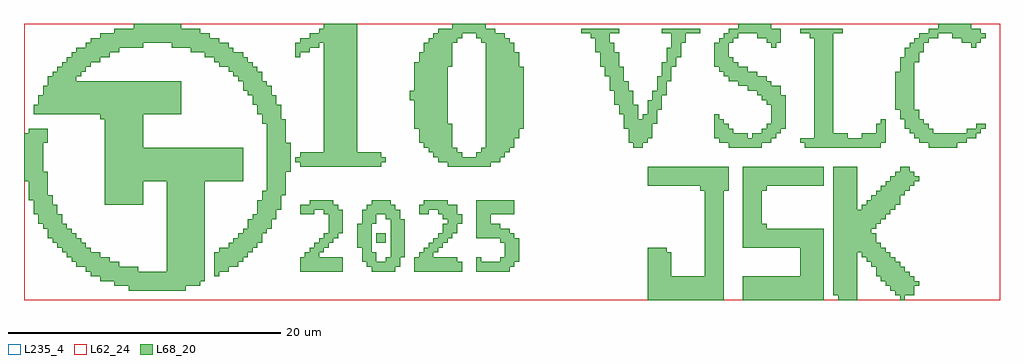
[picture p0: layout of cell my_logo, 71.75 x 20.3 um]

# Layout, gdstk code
import gdstk
lib = gdstk.Library(unit=1e-6, precision=1e-09)
def R(c, l, rs):  # rectangles x0, y0, x1, y1
    for r in rs: c.add(gdstk.rectangle(r[:2], r[2:], *l))
def A(c, l, x, y, w, h, nx, ny, dx, dy):  # array of equal rectangles
    R(c, l, [(x+i*dx, y+j*dy, x+i*dx+w, y+j*dy+h) for i in range(nx) for j in range(ny)])
L62_24 = (62, 24)
L68_20 = (68, 20)
L235_4 = (235, 4)

my_logo = lib.new_cell('my_logo')
R(my_logo, L62_24, [(0,0,71.75,20.3)])
A(my_logo, L68_20, 45.85, 0, 0.35, 0.35, 16, 5, 0.35, 0.35)
A(my_logo, L68_20, 52.85, 0, 0.35, 0.35, 17, 5, 0.35, 0.35)
A(my_logo, L68_20, 59.85, 0, 0.35, 0.35, 4, 1, 0.35, 0)
A(my_logo, L68_20, 59.5, 0.35, 0.35, 0.35, 5, 9, 0.35, 0.35)
A(my_logo, L68_20, 64.05, 0.35, 0.35, 0.35, 4, 2, 0.35, 8.75)
A(my_logo, L68_20, 7.7, 0.7, 0.35, 0.35, 12, 1, 0.35, 0)
A(my_logo, L68_20, 63.7, 0.7, 0.35, 0.35, 5, 1, 0.35, 0)
A(my_logo, L68_20, 6.65, 1.05, 0.35, 0.35, 18, 2, 0.35, 18.55)
A(my_logo, L68_20, 63.35, 1.05, 0.35, 0.35, 7, 1, 0.35, 0)
A(my_logo, L68_20, 5.6, 1.4, 0.35, 0.35, 22, 1, 0.35, 0)
A(my_logo, L68_20, 63, 1.4, 0.35, 0.35, 7, 1, 0.35, 0)
A(my_logo, L68_20, 4.9, 1.75, 0.35, 0.35, 24, 1, 0.35, 0)
A(my_logo, L68_20, 45.85, 1.75, 0.35, 0.35, 5, 5, 0.35, 0.35)
A(my_logo, L68_20, 50.05, 1.75, 0.35, 0.35, 4, 18, 0.35, 0.35)
A(my_logo, L68_20, 57.05, 1.75, 0.35, 0.35, 5, 6, 0.35, 0.35)
A(my_logo, L68_20, 62.65, 1.75, 0.35, 0.35, 7, 1, 0.35, 0)
A(my_logo, L68_20, 4.55, 2.1, 0.35, 0.35, 11, 1, 0.35, 0)
A(my_logo, L68_20, 10.5, 2.1, 0.35, 0.35, 8, 19, 0.35, 0.35)
A(my_logo, L68_20, 14, 2.1, 0.35, 0.35, 3, 1, 0.35, 0)
A(my_logo, L68_20, 20.3, 2.1, 0.35, 0.35, 9, 3, 0.35, 0.35)
A(my_logo, L68_20, 25.55, 2.1, 0.35, 0.35, 5, 1, 0.35, 0)
A(my_logo, L68_20, 28.7, 2.1, 0.35, 0.35, 10, 2, 0.35, 0.35)
A(my_logo, L68_20, 33.25, 2.1, 0.35, 0.35, 7, 2, 0.35, 2.8)
A(my_logo, L68_20, 62.65, 2.1, 0.35, 0.35, 6, 2, 0.35, 5.6)
A(my_logo, L68_20, 3.85, 2.45, 0.35, 0.35, 9, 2, 0.35, 15.75)
A(my_logo, L68_20, 14, 2.45, 0.35, 0.35, 5, 1, 0.35, 0)
A(my_logo, L68_20, 25.2, 2.45, 0.35, 0.35, 7, 1, 0.35, 0)
A(my_logo, L68_20, 33.25, 2.45, 0.35, 0.35, 8, 2, 0.35, 2.1)
A(my_logo, L68_20, 62.3, 2.45, 0.35, 0.35, 6, 2, 0.35, 4.9)
A(my_logo, L68_20, 3.5, 2.8, 0.35, 0.35, 8, 2, 0.35, 15.05)
A(my_logo, L68_20, 14, 2.8, 0.35, 0.35, 6, 1, 0.35, 0)
A(my_logo, L68_20, 24.85, 2.8, 0.35, 0.35, 3, 2, 0.35, 0.35)
A(my_logo, L68_20, 26.6, 2.8, 0.35, 0.35, 3, 2, 0.35, 3.15)
A(my_logo, L68_20, 28.7, 2.8, 0.35, 0.35, 9, 1, 0.35, 0)
A(my_logo, L68_20, 35, 2.8, 0.35, 0.35, 4, 2, 0.35, 1.4)
A(my_logo, L68_20, 61.95, 2.8, 0.35, 0.35, 6, 1, 0.35, 0)
A(my_logo, L68_20, 3.15, 3.15, 0.35, 0.35, 7, 2, 0.35, 14.35)
A(my_logo, L68_20, 14, 3.15, 0.35, 0.35, 7, 2, 0.35, 14.35)
A(my_logo, L68_20, 20.65, 3.15, 0.35, 0.35, 3, 1, 0.35, 0)
A(my_logo, L68_20, 26.95, 3.15, 0.35, 0.35, 3, 8, 0.35, 0.35)
A(my_logo, L68_20, 29.05, 3.15, 0.35, 0.35, 3, 1, 0.35, 0)
A(my_logo, L68_20, 35.35, 3.15, 0.35, 0.35, 3, 3, 0.35, 0.35)
A(my_logo, L68_20, 61.6, 3.15, 0.35, 0.35, 6, 1, 0.35, 0)
A(my_logo, L68_20, 2.8, 3.5, 0.35, 0.35, 6, 2, 0.35, 13.65)
A(my_logo, L68_20, 14.35, 3.5, 0.35, 0.35, 7, 2, 0.35, 13.65)
A(my_logo, L68_20, 21, 3.5, 0.35, 0.35, 3, 1, 0.35, 0)
A(my_logo, L68_20, 29.4, 3.5, 0.35, 0.35, 3, 1, 0.35, 0)
A(my_logo, L68_20, 45.85, 3.5, 0.35, 0.35, 4, 1, 0.35, 0)
A(my_logo, L68_20, 59.5, 3.5, 0.35, 0.35, 11, 2, 0.35, 2.45)
A(my_logo, L68_20, 2.45, 3.85, 0.35, 0.35, 6, 2, 0.35, 12.95)
A(my_logo, L68_20, 15.05, 3.85, 0.35, 0.35, 6, 2, 0.35, 12.95)
A(my_logo, L68_20, 21.35, 3.85, 0.35, 0.35, 3, 1, 0.35, 0)
A(my_logo, L68_20, 24.5, 3.85, 0.35, 0.35, 3, 5, 0.35, 0.35)
A(my_logo, L68_20, 29.75, 3.85, 0.35, 0.35, 3, 1, 0.35, 0)
A(my_logo, L68_20, 52.85, 3.85, 0.35, 0.35, 17, 4, 0.35, 0.35)
A(my_logo, L68_20, 59.5, 3.85, 0.35, 0.35, 10, 2, 0.35, 1.75)
A(my_logo, L68_20, 2.1, 4.2, 0.35, 0.35, 6, 2, 0.35, 12.25)
A(my_logo, L68_20, 15.4, 4.2, 0.35, 0.35, 6, 2, 0.35, 12.25)
A(my_logo, L68_20, 21.7, 4.2, 0.35, 0.35, 3, 1, 0.35, 0)
A(my_logo, L68_20, 30.1, 4.2, 0.35, 0.35, 3, 1, 0.35, 0)
A(my_logo, L68_20, 59.5, 4.2, 0.35, 0.35, 9, 2, 0.35, 0.35)
A(my_logo, L68_20, 1.75, 4.55, 0.35, 0.35, 6, 2, 0.35, 11.55)
A(my_logo, L68_20, 15.75, 4.55, 0.35, 0.35, 5, 2, 0.35, 11.55)
A(my_logo, L68_20, 22.05, 4.55, 0.35, 0.35, 3, 1, 0.35, 0)
A(my_logo, L68_20, 30.45, 4.55, 0.35, 0.35, 3, 1, 0.35, 0)
A(my_logo, L68_20, 1.75, 4.9, 0.35, 0.35, 5, 1, 0.35, 0)
A(my_logo, L68_20, 16.1, 4.9, 0.35, 0.35, 5, 2, 0.35, 10.85)
A(my_logo, L68_20, 22.4, 4.9, 0.35, 0.35, 3, 4, 0.35, 0.35)
A(my_logo, L68_20, 30.8, 4.9, 0.35, 0.35, 3, 2, 0.35, 0.35)
A(my_logo, L68_20, 59.5, 4.9, 0.35, 0.35, 8, 1, 0.35, 0)
A(my_logo, L68_20, 1.4, 5.25, 0.35, 0.35, 5, 1, 0.35, 0)
A(my_logo, L68_20, 16.45, 5.25, 0.35, 0.35, 5, 2, 0.35, 0.35)
A(my_logo, L68_20, 33.25, 5.25, 0.35, 0.35, 5, 1, 0.35, 0)
A(my_logo, L68_20, 52.85, 5.25, 0.35, 0.35, 5, 2, 0.35, 2.8)
A(my_logo, L68_20, 59.5, 5.25, 0.35, 0.35, 9, 1, 0.35, 0)
A(my_logo, L68_20, 1.05, 5.6, 0.35, 0.35, 5, 2, 0.35, 0.35)
A(my_logo, L68_20, 24.85, 5.6, 0.35, 0.35, 3, 2, 0.35, 0.35)
A(my_logo, L68_20, 31.15, 5.6, 0.35, 0.35, 3, 1, 0.35, 0)
A(my_logo, L68_20, 33.25, 5.6, 0.35, 0.35, 3, 2, 0.35, 0.35)
A(my_logo, L68_20, 52.85, 5.6, 0.35, 0.35, 4, 7, 0.35, 0.35)
A(my_logo, L68_20, 16.8, 5.95, 0.35, 0.35, 5, 2, 0.35, 8.4)
A(my_logo, L68_20, 30.8, 5.95, 0.35, 0.35, 4, 1, 0.35, 0)
A(my_logo, L68_20, 0.7, 6.3, 0.35, 0.35, 5, 2, 0.35, 0.35)
A(my_logo, L68_20, 17.15, 6.3, 0.35, 0.35, 4, 1, 0.35, 0)
A(my_logo, L68_20, 20.3, 6.3, 0.35, 0.35, 3, 1, 0.35, 0)
A(my_logo, L68_20, 22.05, 6.3, 0.35, 0.35, 4, 1, 0.35, 0)
A(my_logo, L68_20, 24.85, 6.3, 0.35, 0.35, 8, 1, 0.35, 0)
A(my_logo, L68_20, 30.45, 6.3, 0.35, 0.35, 4, 1, 0.35, 0)
A(my_logo, L68_20, 33.25, 6.3, 0.35, 0.35, 8, 3, 0.35, 0.35)
A(my_logo, L68_20, 59.5, 6.3, 0.35, 0.35, 12, 1, 0.35, 0)
A(my_logo, L68_20, 17.15, 6.65, 0.35, 0.35, 5, 2, 0.35, 0.35)
A(my_logo, L68_20, 20.3, 6.65, 0.35, 0.35, 8, 1, 0.35, 0)
A(my_logo, L68_20, 25.2, 6.65, 0.35, 0.35, 6, 1, 0.35, 0)
A(my_logo, L68_20, 29.05, 6.65, 0.35, 0.35, 8, 1, 0.35, 0)
A(my_logo, L68_20, 59.5, 6.65, 0.35, 0.35, 5, 9, 0.35, 0.35)
A(my_logo, L68_20, 61.6, 6.65, 0.35, 0.35, 7, 1, 0.35, 0)
A(my_logo, L68_20, 0.7, 7, 0.35, 0.35, 4, 1, 0.35, 0)
A(my_logo, L68_20, 5.95, 7, 0.35, 0.35, 8, 5, 0.35, 0.35)
A(my_logo, L68_20, 21, 7, 0.35, 0.35, 5, 1, 0.35, 0)
A(my_logo, L68_20, 25.55, 7, 0.35, 0.35, 4, 1, 0.35, 0)
A(my_logo, L68_20, 29.4, 7, 0.35, 0.35, 5, 1, 0.35, 0)
A(my_logo, L68_20, 61.95, 7, 0.35, 0.35, 7, 1, 0.35, 0)
A(my_logo, L68_20, 0.35, 7.35, 0.35, 0.35, 5, 1, 0.35, 0)
A(my_logo, L68_20, 17.5, 7.35, 0.35, 0.35, 4, 2, 0.35, 5.95)
A(my_logo, L68_20, 0.35, 7.7, 0.35, 0.35, 4, 3, 0.35, 0.35)
A(my_logo, L68_20, 17.5, 7.7, 0.35, 0.35, 5, 2, 0.35, 5.25)
A(my_logo, L68_20, 17.85, 8.05, 0.35, 0.35, 4, 4, 0.35, 0.35)
A(my_logo, L68_20, 49.7, 8.05, 0.35, 0.35, 6, 1, 0.35, 0)
A(my_logo, L68_20, 63, 8.05, 0.35, 0.35, 6, 1, 0.35, 0)
A(my_logo, L68_20, 45.85, 8.4, 0.35, 0.35, 17, 4, 0.35, 0.35)
A(my_logo, L68_20, 52.85, 8.4, 0.35, 0.35, 17, 4, 0.35, 0.35)
A(my_logo, L68_20, 63.35, 8.4, 0.35, 0.35, 6, 1, 0.35, 0)
A(my_logo, L68_20, 0, 8.75, 0.35, 0.35, 5, 2, 0.35, 0.35)
A(my_logo, L68_20, 5.95, 8.75, 0.35, 0.35, 29, 7, 0.35, 0.35)
A(my_logo, L68_20, 63.7, 8.75, 0.35, 0.35, 6, 1, 0.35, 0)
A(my_logo, L68_20, 0, 9.45, 0.35, 0.35, 4, 6, 0.35, 0.35)
A(my_logo, L68_20, 17.85, 9.45, 0.35, 0.35, 5, 6, 0.35, 0.35)
A(my_logo, L68_20, 20.3, 9.8, 0.35, 0.35, 17, 2, 0.35, 0.7)
A(my_logo, L68_20, 31.15, 9.8, 0.35, 0.35, 9, 1, 0.35, 0)
A(my_logo, L68_20, 19.95, 10.15, 0.35, 0.35, 19, 1, 0.35, 0)
A(my_logo, L68_20, 30.45, 10.15, 0.35, 0.35, 13, 1, 0.35, 0)
A(my_logo, L68_20, 30.1, 10.5, 0.35, 0.35, 6, 2, 0.35, 8.75)
A(my_logo, L68_20, 33.25, 10.5, 0.35, 0.35, 6, 2, 0.35, 8.75)
A(my_logo, L68_20, 22.05, 10.85, 0.35, 0.35, 7, 23, 0.35, 0.35)
A(my_logo, L68_20, 29.75, 10.85, 0.35, 0.35, 6, 2, 0.35, 8.05)
A(my_logo, L68_20, 33.6, 10.85, 0.35, 0.35, 6, 2, 0.35, 8.05)
A(my_logo, L68_20, 5.95, 11.2, 0.35, 0.35, 8, 6, 0.35, 0.35)
A(my_logo, L68_20, 29.4, 11.2, 0.35, 0.35, 6, 2, 0.35, 7)
A(my_logo, L68_20, 33.95, 11.2, 0.35, 0.35, 6, 2, 0.35, 0.35)
A(my_logo, L68_20, 51.8, 11.2, 0.35, 0.35, 7, 1, 0.35, 0)
A(my_logo, L68_20, 57.4, 11.2, 0.35, 0.35, 16, 1, 0.35, 0)
A(my_logo, L68_20, 66.5, 11.2, 0.35, 0.35, 6, 1, 0.35, 0)
A(my_logo, L68_20, 0, 11.55, 0.35, 0.35, 5, 2, 0.35, 0.35)
A(my_logo, L68_20, 17.85, 11.55, 0.35, 0.35, 4, 4, 0.35, 0.35)
A(my_logo, L68_20, 29.05, 11.55, 0.35, 0.35, 7, 3, 0.35, 0.35)
A(my_logo, L68_20, 44.45, 11.55, 0.35, 0.35, 4, 1, 0.35, 0)
A(my_logo, L68_20, 51.1, 11.55, 0.35, 0.35, 11, 1, 0.35, 0)
A(my_logo, L68_20, 57.05, 11.55, 0.35, 0.35, 18, 1, 0.35, 0)
A(my_logo, L68_20, 65.8, 11.55, 0.35, 0.35, 10, 1, 0.35, 0)
A(my_logo, L68_20, 33.95, 11.9, 0.35, 0.35, 7, 2, 0.35, 0.35)
A(my_logo, L68_20, 44.45, 11.9, 0.35, 0.35, 5, 2, 0.35, 0.35)
A(my_logo, L68_20, 50.75, 11.9, 0.35, 0.35, 7, 1, 0.35, 0)
A(my_logo, L68_20, 53.55, 11.9, 0.35, 0.35, 5, 1, 0.35, 0)
A(my_logo, L68_20, 58.1, 11.9, 0.35, 0.35, 7, 1, 0.35, 0)
A(my_logo, L68_20, 61.6, 11.9, 0.35, 0.35, 5, 1, 0.35, 0)
A(my_logo, L68_20, 65.45, 11.9, 0.35, 0.35, 13, 1, 0.35, 0)
A(my_logo, L68_20, 0.35, 12.25, 0.35, 0.35, 4, 1, 0.35, 0)
A(my_logo, L68_20, 50.75, 12.25, 0.35, 0.35, 4, 2, 0.35, 5.25)
A(my_logo, L68_20, 54.25, 12.25, 0.35, 0.35, 4, 1, 0.35, 0)
A(my_logo, L68_20, 58.1, 12.25, 0.35, 0.35, 4, 20, 0.35, 0.35)
A(my_logo, L68_20, 63, 12.25, 0.35, 0.35, 1, 3, 0, 0.35)
A(my_logo, L68_20, 65.1, 12.25, 0.35, 0.35, 5, 1, 0.35, 0)
A(my_logo, L68_20, 69.3, 12.25, 0.35, 0.35, 3, 1, 0.35, 0)
A(my_logo, L68_20, 28.7, 12.6, 0.35, 0.35, 8, 2, 0.35, 4.55)
A(my_logo, L68_20, 33.95, 12.6, 0.35, 0.35, 8, 13, 0.35, 0.35)
A(my_logo, L68_20, 44.1, 12.6, 0.35, 0.35, 6, 1, 0.35, 0)
A(my_logo, L68_20, 50.75, 12.6, 0.35, 0.35, 3, 2, 0.35, 5.25)
A(my_logo, L68_20, 54.6, 12.6, 0.35, 0.35, 4, 2, 0.35, 1.75)
A(my_logo, L68_20, 64.75, 12.6, 0.35, 0.35, 5, 1, 0.35, 0)
A(my_logo, L68_20, 28.7, 12.95, 0.35, 0.35, 7, 5, 0.35, 0.35)
A(my_logo, L68_20, 44.1, 12.95, 0.35, 0.35, 7, 1, 0.35, 0)
A(my_logo, L68_20, 54.95, 12.95, 0.35, 0.35, 3, 4, 0.35, 0.35)
A(my_logo, L68_20, 64.75, 12.95, 0.35, 0.35, 4, 2, 0.35, 5.25)
A(my_logo, L68_20, 5.6, 13.3, 0.35, 0.35, 9, 1, 0.35, 0)
A(my_logo, L68_20, 44.1, 13.3, 0.35, 0.35, 3, 1, 0.35, 0)
A(my_logo, L68_20, 45.5, 13.3, 0.35, 0.35, 3, 1, 0.35, 0)
A(my_logo, L68_20, 64.4, 13.3, 0.35, 0.35, 4, 2, 0.35, 0.35)
A(my_logo, L68_20, 0.7, 13.65, 0.35, 0.35, 31, 2, 0.35, 0.35)
A(my_logo, L68_20, 17.15, 13.65, 0.35, 0.35, 5, 2, 0.35, 0.35)
A(my_logo, L68_20, 43.75, 13.65, 0.35, 0.35, 4, 2, 0.35, 0.35)
A(my_logo, L68_20, 45.85, 14, 0.35, 0.35, 3, 2, 0.35, 0.35)
A(my_logo, L68_20, 64.05, 14, 0.35, 0.35, 4, 8, 0.35, 0.35)
A(my_logo, L68_20, 1.05, 14.35, 0.35, 0.35, 30, 2, 0.35, 0.35)
A(my_logo, L68_20, 43.4, 14.35, 0.35, 0.35, 4, 3, 0.35, 0.35)
A(my_logo, L68_20, 16.8, 14.7, 0.35, 0.35, 5, 1, 0.35, 0)
A(my_logo, L68_20, 28.35, 14.7, 0.35, 0.35, 8, 2, 0.35, 0.35)
A(my_logo, L68_20, 54.25, 14.7, 0.35, 0.35, 5, 1, 0.35, 0)
A(my_logo, L68_20, 1.4, 15.05, 0.35, 0.35, 29, 2, 0.35, 0.35)
A(my_logo, L68_20, 16.45, 15.05, 0.35, 0.35, 5, 1, 0.35, 0)
A(my_logo, L68_20, 46.2, 15.05, 0.35, 0.35, 3, 1, 0.35, 0)
A(my_logo, L68_20, 53.9, 15.05, 0.35, 0.35, 5, 2, 0.35, 4.2)
A(my_logo, L68_20, 16.1, 15.4, 0.35, 0.35, 6, 1, 0.35, 0)
A(my_logo, L68_20, 28.7, 15.4, 0.35, 0.35, 7, 5, 0.35, 0.35)
A(my_logo, L68_20, 43.05, 15.4, 0.35, 0.35, 4, 2, 0.35, 0.35)
A(my_logo, L68_20, 53.2, 15.4, 0.35, 0.35, 7, 1, 0.35, 0)
A(my_logo, L68_20, 1.75, 15.75, 0.35, 0.35, 28, 1, 0.35, 0)
A(my_logo, L68_20, 52.5, 15.75, 0.35, 0.35, 7, 2, 0.35, 4.2)
A(my_logo, L68_20, 43.05, 16.1, 0.35, 0.35, 3, 1, 0.35, 0)
A(my_logo, L68_20, 46.55, 16.1, 0.35, 0.35, 3, 1, 0.35, 0)
A(my_logo, L68_20, 51.8, 16.1, 0.35, 0.35, 8, 1, 0.35, 0)
A(my_logo, L68_20, 42.7, 16.45, 0.35, 0.35, 4, 2, 0.35, 0.35)
A(my_logo, L68_20, 51.45, 16.45, 0.35, 0.35, 7, 1, 0.35, 0)
A(my_logo, L68_20, 51.1, 16.8, 0.35, 0.35, 6, 1, 0.35, 0)
A(my_logo, L68_20, 64.4, 16.8, 0.35, 0.35, 3, 2, 0.35, 0.35)
A(my_logo, L68_20, 33.95, 17.15, 0.35, 0.35, 7, 3, 0.35, 0.35)
A(my_logo, L68_20, 42.35, 17.15, 0.35, 0.35, 4, 3, 0.35, 0.35)
A(my_logo, L68_20, 46.9, 17.15, 0.35, 0.35, 3, 1, 0.35, 0)
A(my_logo, L68_20, 50.75, 17.15, 0.35, 0.35, 5, 1, 0.35, 0)
A(my_logo, L68_20, 29.05, 17.5, 0.35, 0.35, 7, 2, 0.35, 0.35)
A(my_logo, L68_20, 64.4, 17.5, 0.35, 0.35, 4, 1, 0.35, 0)
A(my_logo, L68_20, 13.3, 17.85, 0.35, 0.35, 8, 1, 0.35, 0)
A(my_logo, L68_20, 47.25, 17.85, 0.35, 0.35, 3, 2, 0.35, 0.35)
A(my_logo, L68_20, 64.75, 17.85, 0.35, 0.35, 3, 1, 0.35, 0)
A(my_logo, L68_20, 12.25, 18.2, 0.35, 0.35, 9, 1, 0.35, 0)
A(my_logo, L68_20, 19.95, 18.2, 0.35, 0.35, 3, 1, 0.35, 0)
A(my_logo, L68_20, 33.95, 18.2, 0.35, 0.35, 6, 2, 0.35, 0.35)
A(my_logo, L68_20, 42, 18.2, 0.35, 0.35, 4, 2, 0.35, 0.35)
A(my_logo, L68_20, 50.75, 18.2, 0.35, 0.35, 3, 2, 0.35, 0.35)
A(my_logo, L68_20, 4.55, 18.55, 0.35, 0.35, 12, 1, 0.35, 0)
A(my_logo, L68_20, 10.85, 18.55, 0.35, 0.35, 12, 1, 0.35, 0)
A(my_logo, L68_20, 19.95, 18.55, 0.35, 0.35, 5, 1, 0.35, 0)
A(my_logo, L68_20, 29.4, 18.55, 0.35, 0.35, 6, 1, 0.35, 0)
A(my_logo, L68_20, 65.1, 18.55, 0.35, 0.35, 3, 1, 0.35, 0)
A(my_logo, L68_20, 4.9, 18.9, 0.35, 0.35, 27, 1, 0.35, 0)
A(my_logo, L68_20, 20.3, 18.9, 0.35, 0.35, 12, 1, 0.35, 0)
A(my_logo, L68_20, 42, 18.9, 0.35, 0.35, 3, 1, 0.35, 0)
A(my_logo, L68_20, 47.6, 18.9, 0.35, 0.35, 3, 2, 0.35, 0.35)
A(my_logo, L68_20, 51.1, 18.9, 0.35, 0.35, 3, 1, 0.35, 0)
A(my_logo, L68_20, 54.6, 18.9, 0.35, 0.35, 3, 1, 0.35, 0)
A(my_logo, L68_20, 65.45, 18.9, 0.35, 0.35, 3, 1, 0.35, 0)
A(my_logo, L68_20, 68.95, 18.9, 0.35, 0.35, 4, 1, 0.35, 0)
A(my_logo, L68_20, 5.6, 19.25, 0.35, 0.35, 23, 1, 0.35, 0)
A(my_logo, L68_20, 21, 19.25, 0.35, 0.35, 10, 1, 0.35, 0)
A(my_logo, L68_20, 41.65, 19.25, 0.35, 0.35, 4, 1, 0.35, 0)
A(my_logo, L68_20, 51.45, 19.25, 0.35, 0.35, 3, 1, 0.35, 0)
A(my_logo, L68_20, 57.75, 19.25, 0.35, 0.35, 5, 1, 0.35, 0)
A(my_logo, L68_20, 65.8, 19.25, 0.35, 0.35, 4, 1, 0.35, 0)
A(my_logo, L68_20, 68.25, 19.25, 0.35, 0.35, 7, 1, 0.35, 0)
A(my_logo, L68_20, 21.7, 19.6, 0.35, 0.35, 8, 1, 0.35, 0)
A(my_logo, L68_20, 30.45, 19.6, 0.35, 0.35, 12, 1, 0.35, 0)
A(my_logo, L68_20, 40.95, 19.6, 0.35, 0.35, 8, 1, 0.35, 0)
A(my_logo, L68_20, 46.9, 19.6, 0.35, 0.35, 8, 1, 0.35, 0)
A(my_logo, L68_20, 51.8, 19.6, 0.35, 0.35, 11, 1, 0.35, 0)
A(my_logo, L68_20, 57.05, 19.6, 0.35, 0.35, 9, 1, 0.35, 0)
A(my_logo, L68_20, 66.5, 19.6, 0.35, 0.35, 11, 1, 0.35, 0)
A(my_logo, L68_20, 8.05, 19.95, 0.35, 0.35, 10, 1, 0.35, 0)
A(my_logo, L68_20, 22.05, 19.95, 0.35, 0.35, 7, 1, 0.35, 0)
A(my_logo, L68_20, 31.5, 19.95, 0.35, 0.35, 7, 1, 0.35, 0)
A(my_logo, L68_20, 67.2, 19.95, 0.35, 0.35, 7, 1, 0.35, 0)
R(my_logo, L68_20, [(64.4,0,64.75,0.35), (14,1.75,14.35,2.1), (33.25,2.8,33.6,3.15), (24.85,3.5,25.2,3.85), (25.2,3.5,25.55,3.85), (25.9,4.2,26.25,4.55), (26.25,4.2,26.6,4.55), (25.9,4.55,26.25,4.9), (26.25,4.55,26.6,4.9), (29.05,6.3,29.4,6.65), (29.4,6.3,29.75,6.65), (64.4,9.45,64.75,9.8), (64.75,9.45,65.1,9.8), (44.8,11.2,45.15,11.55), (45.15,11.2,45.5,11.55), (62.65,12.25,63,12.6), (62.65,12.6,63,12.95), (70,12.6,70.35,12.95), (70.35,12.6,70.7,12.95), (50.75,12.95,51.1,13.3), (51.1,12.95,51.45,13.3), (50.75,13.3,51.1,13.65), (45.85,13.65,46.2,14), (46.2,13.65,46.55,14), (46.2,14.7,46.55,15.05), (46.55,14.7,46.9,15.05), (46.55,15.4,46.9,15.75), (46.9,15.4,47.25,15.75), (46.55,15.75,46.9,16.1), (46.9,15.75,47.25,16.1), (46.9,16.45,47.25,16.8), (47.25,16.45,47.6,16.8), (46.9,16.8,47.25,17.15), (47.25,16.8,47.6,17.15), (47.25,17.5,47.6,17.85), (47.6,17.5,47.95,17.85), (19.95,17.85,20.3,18.2), (47.6,18.55,47.95,18.9), (47.95,18.55,48.3,18.9), (54.95,18.55,55.3,18.9), (69.65,18.55,70,18.9)])
R(my_logo, L235_4, [(0,0,71.75,20.3)])

lib.write_gds('my_logo.gds')
